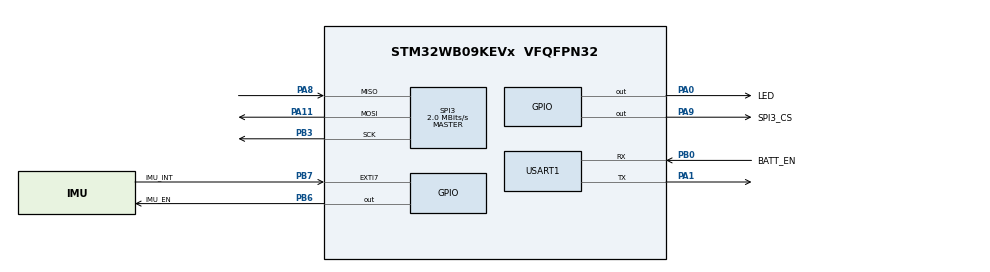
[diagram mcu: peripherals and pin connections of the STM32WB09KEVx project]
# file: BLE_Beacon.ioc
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Dma.Request0=SPI3_RX
Dma.Request1=SPI3_TX
Dma.SPI3_RX.0.Direction=DMA_PERIPH_TO_MEMORY
Dma.SPI3_RX.0.EventEnable=DISABLE
Dma.SPI3_RX.0.FIFOMode=DMA_FIFOMODE_DISABLE
Dma.SPI3_RX.0.Instance=DMA1_Channel1
Dma.SPI3_RX.0.MDMA_Chaining=ENABLE
Dma.SPI3_RX.0.Mandatory=DISABLE
Dma.SPI3_RX.0.MemDataAlignment=DMA_MDATAALIGN_BYTE
Dma.SPI3_RX.0.MemInc=DMA_MINC_ENABLE
Dma.SPI3_RX.0.Mode=DMA_NORMAL
Dma.SPI3_RX.0.PeriphDataAlignment=DMA_PDATAALIGN_BYTE
Dma.SPI3_RX.0.PeriphInc=DMA_PINC_DISABLE
Dma.SPI3_RX.0.Priority=DMA_PRIORITY_LOW
Dma.SPI3_RX.0.SignalID=NONE
Dma.SPI3_RX.0.SyncEnable=DISABLE
Dma.SPI3_RX.0.SyncRequestNumber=1
Dma.SPI3_TX.1.Direction=DMA_MEMORY_TO_PERIPH
Dma.SPI3_TX.1.EventEnable=DISABLE
Dma.SPI3_TX.1.FIFOMode=DMA_FIFOMODE_DISABLE
Dma.SPI3_TX.1.Instance=DMA1_Channel2
Dma.SPI3_TX.1.MDMA_Chaining=ENABLE
Dma.SPI3_TX.1.Mandatory=DISABLE
Dma.SPI3_TX.1.MemDataAlignment=DMA_MDATAALIGN_BYTE
Dma.SPI3_TX.1.MemInc=DMA_MINC_ENABLE
Dma.SPI3_TX.1.Mode=DMA_NORMAL
Dma.SPI3_TX.1.PeriphDataAlignment=DMA_PDATAALIGN_BYTE
Dma.SPI3_TX.1.PeriphInc=DMA_PINC_DISABLE
Dma.SPI3_TX.1.Priority=DMA_PRIORITY_LOW
Dma.SPI3_TX.1.SignalID=NONE
Dma.SPI3_TX.1.SyncEnable=DISABLE
Dma.SPI3_TX.1.SyncRequestNumber=1
Mcu.Family=STM32WB0
Mcu.Name=STM32WB09KEVx
Mcu.Package=VFQFPN32
NVIC.DMA_IRQn=true\:1\:0\:false\:false\:true\:false\:true\:true
NVIC.GPIOB_IRQn=true\:1\:0\:false\:false\:true\:true\:true\:true
NVIC.PKA_IRQn=true\:1\:0\:true\:false\:true\:true\:true\:true
NVIC.RADIO_TIMER_CPU_WKUP_IRQn=true\:0\:0\:false\:false\:true\:false\:true\:true
NVIC.RADIO_TIMER_ERROR_IRQn=true\:0\:0\:false\:false\:true\:false\:true\:true
NVIC.RADIO_TXRX_IRQn=true\:0\:0\:false\:false\:true\:false\:true\:true
NVIC.RADIO_TXRX_SEQ_IRQn=true\:0\:0\:false\:false\:true\:false\:true\:true
NVIC.SPI3_IRQn=true\:1\:0\:false\:false\:true\:true\:true\:true
NVIC.TIM16_IRQn=true\:1\:0\:false\:false\:true\:true\:true\:true
NVIC.TIM2_IRQn=true\:1\:0\:false\:false\:true\:true\:true\:true
NVIC.USART1_IRQn=true\:1\:0\:true\:false\:true\:true\:false\:true
OSCIN.Mode=HSE-External-Oscillator
OSCIN.Signal=RCC_OSC_IN
OSCOUT.Mode=HSE-External-Oscillator
OSCOUT.Signal=RCC_OSC_OUT
PA0.GPIO_Label=LED
PA0.Signal=GPIO_Output
PA1.Mode=Asynchronous
PA1.Signal=USART1_TX
PA11.Mode=Full_Duplex_Master
PA11.Signal=SPI3_MOSI
PA2.Mode=Serial_Wire
PA2.Signal=DEBUG_SWDIO
PA3.Mode=Serial_Wire
PA3.Signal=DEBUG_SWCLK
PA8.Mode=Full_Duplex_Master
PA8.Signal=SPI3_MISO
PA9.GPIO_Label=SPI3_CS
PA9.Signal=GPIO_Output
PB0.GPIO_Label=BATT_EN
PB0.Mode=Asynchronous
PB0.Signal=USART1_RX
PB0.Stacked=true
PB12.Mode=LSE-External-Oscillator
PB12.Signal=RCC_OSC32_OUT
PB13.Mode=LSE-External-Oscillator
PB13.Signal=RCC_OSC32_IN
PB3.Mode=Full_Duplex_Master
PB3.Signal=SPI3_SCK
PB6.GPIO_Label=IMU_EN
PB6.Signal=GPIO_Output
PB7.GPIO_Label=IMU_INT
PB7.Signal=GPXTI7
PWR.PWR_APC=1
ProjectManager.HeapSize=0x000
ProjectManager.StackSize=0xC00
ProjectManager.TargetToolchain=STM32CubeIDE
RADIO_TIMER.enableInitialCalibration=FALSE
RADIO_TIMER.periodicCalibrationInterval=0
RCC.BLEMultSource=RCC_RF_CLK_16M
RCC.HSE_VALUE=32000000
RCC.HSI_VALUE=64000000
RCC.LSE_Drive_Capability=RCC_LSEDRIVE_MEDIUMLOW
RCC.LSE_Timout=100
RCC.RC64MPLLSource=RCC_LSCOSOURCE_PLL64
RCC.RTCClockSelection=RCC_RTC_WDG_BLEWKUP_CLKSOURCE_LSE
RCC.SYSCLK64Divider=RCC_RC64MPLL_DIV2
RF1.Mode=RF1_Activate
RF1.Signal=RADIO_RF1
SPI3.BaudRatePrescaler=SPI_BAUDRATEPRESCALER_16
SPI3.CLKPhase=SPI_PHASE_2EDGE
SPI3.CLKPolarity=SPI_POLARITY_HIGH
SPI3.CalculateBaudRate=2.0 MBits/s
SPI3.DataSize=SPI_DATASIZE_8BIT
SPI3.Direction=SPI_DIRECTION_2LINES
SPI3.Mode=SPI_MODE_MASTER
SPI3.VirtualType=VM_MASTER
STM32_BLE.ADV_TYPE=HCI_ADV_EVENT_PROP_LEGACY
STM32_BLE.BSP.number=1
STM32_BLE.CFG_BD_ADDRESS_TYPE=HCI_ADDR_PUBLIC
STM32_BLE.CFG_BLE_CONN_EVENT_LENGTH_MAX=4294967295
STM32_BLE.CFG_BLE_CONN_EVENT_LENGTH_MAX_HEXA=0xFFFFFFFF
STM32_BLE.CFG_BLE_CONTROLLER_2M_CODED_PHY_ENABLED=1
STM32_BLE.CFG_BLE_CONTROLLER_DATA_LENGTH_EXTENSION_ENABLED=1
STM32_BLE.CFG_BLE_CONTROLLER_EXT_ADV_SCAN_ENABLED=1
STM32_BLE.CFG_BLE_NUM_ADV_SETS=1
STM32_BLE.CFG_DEBUG_APP_TRACE=1
STM32_BLE.CFG_LPM_SUPPORTED=0
STM32_BLE.CFG_PUBLIC_BD_ADDRESS=0x0280E1887766
STM32_BLE.CFG_SCAN_WIN_MS=500.0
STM32_BLE.CFG_TX_POWER=(0x20) /* 0x20 <\=> 8 dBm */
STM32_BLE.CFG_TX_POWER_MODE=(1) /* Tx high power mode */
STM32_BLE0.BSP.STBoard=false
STM32_BLE0.BSP.api=Unknown
STM32_BLE0.BSP.instance=USART1
STM32_BLE0.BSP.ip=(LPU|US)ART
STM32_BLE0.BSP.mode=Asynchronous
STM32_BLE0.BSP.name=Serial Link for Traces
STM32_BLE0.BSP.solution=USART1
TIM16.Prescaler=6400-1
TIM2.Prescaler=64-1
USART1.VirtualMode-Asynchronous=VM_ASYNC
VP_ADV_TRACE_VS_ADV_TRACE.Mode=ADV_TRACE_Enabled
VP_COMMON_BLE_VS_Utility_Common_BLE_1.0.0_1.0.0.Mode=Utility_Common
VP_MEMORYMAP_VS_MEMORYMAP.Mode=CurAppReg
VP_MISC_VS_MISC.Mode=MISC_Enabled
VP_PKA_VS_PKA.Mode=PKA_Activate
VP_PWR_VS_SECSignals.Mode=Security/Privilege
VP_RADIO_TIMER_VS_RADIO.Mode=RADIO_Activate
VP_RNG_VS_RNG.Mode=RNG_Activate
VP_SEQUENCER_VS_SEQUENCER.Mode=SEQUENCER_Enabled
VP_STM32_BLE_VS_BLE_HOST_BC.Mode=BLE_Broadcaster
VP_TIM16_VS_ClockSourceINT.Mode=Enable_Timer
VP_TIM2_VS_ClockSourceINT.Mode=Internal
VP_TINY_LPM_VS_TINY_LPM.Mode=TINY_LPM_Enabled
board=NUCLEO-WB09KE

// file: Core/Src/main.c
/* USER CODE BEGIN Header */
/**
  ******************************************************************************
  * @file           : main.c
  * @brief          : Main program body
  ******************************************************************************
  * @attention
  *
  * Copyright (c) 2024 STMicroelectronics.
  * All rights reserved.
  *
  * This software is licensed under terms that can be found in the LICENSE file
  * in the root directory of this software component.
  * If no LICENSE file comes with this software, it is provided AS-IS.
  *
  ******************************************************************************
  */
/* USER CODE END Header */
#include "main.h"
#include "dma.h"
#include "memorymap.h"
#include "pka.h"
#include "radio.h"
#include "radio_timer.h"
#include "spi.h"
#include "tim.h"
#include "usart.h"
#include "gpio.h"

void SystemClock_Config(void);
void PeriphCommonClock_Config(void);
/* USER CODE BEGIN PFP */
static void function_TASK_LED( void );
/* USER CODE END PFP */

int main(void)
{

  /* MCU Configuration--------------------------------------------------------*/

  /* Reset of all peripherals, Initializes the Flash interface and the Systick. */
  HAL_Init();

  /* Configure the system clock */
  SystemClock_Config();

  /* Configure the peripherals common clocks */
  PeriphCommonClock_Config();

  /* USER CODE BEGIN SysInit */
  HAL_Delay(100);
  /* USER CODE END SysInit */

  /* Initialize all configured peripherals */
  MX_GPIO_Init();
  MX_DMA_Init();
  MX_RADIO_Init();
  MX_RADIO_TIMER_Init();
  MX_PKA_Init();
  MX_USART1_UART_Init();
  MX_SPI3_Init();
  MX_TIM16_Init();
  MX_TIM2_Init();
  /* USER CODE BEGIN 2 */
  SEGGER_RTT_ConfigUpBuffer(0, NULL, NULL, 0, SEGGER_RTT_MODE_NO_BLOCK_SKIP);

  HAL_GPIO_WritePin(SPI3_CS_GPIO_Port, SPI3_CS_Pin, GPIO_PIN_SET);

  HAL_TIM_Base_Start(&htim2);
  /* USER CODE END 2 */

  /* Init code for STM32_BLE */
  MX_APPE_Init(NULL);

  /* Infinite loop */
  /* USER CODE BEGIN WHILE */

  UTIL_SEQ_RegTask(1U << TASK_LED, UTIL_SEQ_RFU, function_TASK_LED);
  UTIL_SEQ_RegTask(1U << TASK_IMU, UTIL_SEQ_RFU, poll_icm20948);

  UTIL_SEQ_SetTask(1U << TASK_LED, CFG_SEQ_PRIO_LOW);

  HAL_GPIO_WritePin(BATT_EN_GPIO_Port, BATT_EN_Pin, GPIO_PIN_SET);
  HAL_GPIO_WritePin(IMU_EN_GPIO_Port, IMU_EN_Pin, GPIO_PIN_SET);

  HAL_Delay(100);

  ICM20948_Init();

  while (1)
  {
    /* USER CODE END WHILE */
    MX_APPE_Process();

  }
}

void SystemClock_Config(void)
{
  RCC_OscInitTypeDef RCC_OscInitStruct = {0};
  RCC_ClkInitTypeDef RCC_ClkInitStruct = {0};

  /** Initializes the RCC Oscillators according to the specified parameters
  * in the RCC_OscInitTypeDef structure.
  */
  RCC_OscInitStruct.OscillatorType = RCC_OSCILLATORTYPE_HSE|RCC_OSCILLATORTYPE_LSE;
  RCC_OscInitStruct.HSEState = RCC_HSE_ON;
  RCC_OscInitStruct.LSEState = RCC_LSE_ON;
  if (HAL_RCC_OscConfig(&RCC_OscInitStruct) != HAL_OK)
  {
    Error_Handler();
  }

  /** Configure the SYSCLKSource and SYSCLKDivider
  */
  RCC_ClkInitStruct.SYSCLKSource = RCC_SYSCLKSOURCE_RC64MPLL;
  RCC_ClkInitStruct.SYSCLKDivider = RCC_RC64MPLL_DIV2;

  if (HAL_RCC_ClockConfig(&RCC_ClkInitStruct, FLASH_WAIT_STATES_0) != HAL_OK)
  {
    Error_Handler();
  }
}

void PeriphCommonClock_Config(void)
{
  RCC_PeriphCLKInitTypeDef PeriphClkInitStruct = {0};

  /** Initializes the peripherals clock
  */
  PeriphClkInitStruct.PeriphClockSelection = RCC_PERIPHCLK_SMPS;
  PeriphClkInitStruct.SmpsDivSelection = RCC_SMPSCLK_DIV4;

  if (HAL_RCCEx_PeriphCLKConfig(&PeriphClkInitStruct) != HAL_OK)
  {
    Error_Handler();
  }
}

/* USER CODE BEGIN 4 */
/* task definition */
static void function_TASK_LED( void )
{
    HAL_GPIO_WritePin(LED_GPIO_Port, LED_Pin, GPIO_PIN_RESET);
}

/* USER CODE END 4 */

void Error_Handler(void)
{
  __disable_irq();
  while (1)
  {
  }
}

#ifdef  USE_FULL_ASSERT
/**
  * @brief  Reports the name of the source file and the source line number
  *         where the assert_param error has occurred.
  * @param  file: pointer to the source file name
  * @param  line: assert_param error line source number
  * @retval None
  */
void assert_failed(uint8_t *file, uint32_t line)
{
  /* USER CODE BEGIN 6 */
  /* User can add his own implementation to report the file name and line number,
     ex: printf("Wrong parameters value: file %s on line %d\r\n", file, line) */
  Error_Handler();
  /* USER CODE END 6 */
}
#endif /* USE_FULL_ASSERT */
